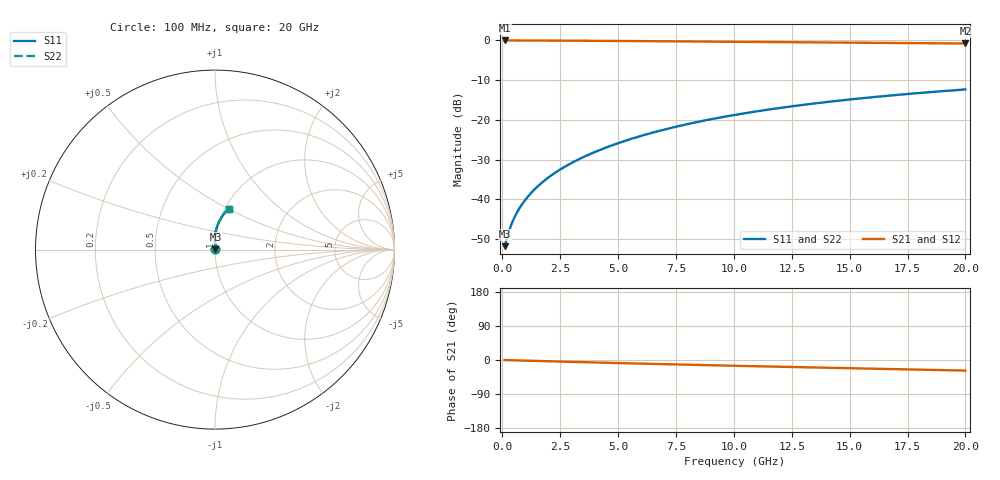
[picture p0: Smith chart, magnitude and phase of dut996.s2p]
! Touchstone file exported from HFSS 2024.1.0
!  File:  C:/UserFiles/LocalFiles/RDL_TSV_Batchsim/temp_RDL_top_996_1779939832.aedt
!  Generated:  11:46:27 AM May 28, 2026
!  Design:  RDL_top
!  Project:  temp_RDL_top_996_1779939832
!  Setup:  Setup1
!  Solution:  Sweep
! Variables:
!  dtsv = 10.80580581um
!  hbump = 3um
!  htsv = 88.23um
!  ldown = 100um
!  lrdl = 391.94um
!  p = 40
!  p1 = 49.39um
!  rhole = 1um
!  t = 450um
!  tdown = 3.915915916um
!  trdl = 2.52um
!  wdown = 15.38538539um
!  wrdl = 27.84um
# GHz S MA R 50.000000
! Terminal data exported
! Port[1] = Box2_T1
! Port[2] = Box2_T2
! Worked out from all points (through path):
!   200 points, 100 MHz to 20 GHz, reference 50 ohm
!   highest |S21| = -0.02 dB at 100 MHz (marker M1); lowest = -0.8 dB at 20 GHz (marker M2)
!   group delay of S21, straight-line fit = 3.83 ps
!   lowest |S11| = -51.8 dB at 100 MHz (marker M3), VSWR 1.01, Z = 50.2 + j0.111 ohm
!   |S11| at or under -10 dB: start of sweep to end of sweep
!   |S22| runs from -51.8 to -12.3 dB; largest |S21 - S12| = 3e-15
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0.1  0.002578 25.3  0.9977 -0.2  0.9977 -0.2  0.002578 25.3
! Gamma 0 0 0 0
! Port Impedance 50 0 50 0
0.3  0.004057 51.2  0.9974 -0.5  0.9974 -0.5  0.004057 51.2
0.4  0.004895 57.3  0.9972 -0.7  0.9972 -0.7  0.004895 57.3
0.5  0.005731 61.5  0.997 -0.9  0.997 -0.9  0.005732 61.5
0.6  0.006564 64.8  0.9969 -1.0  0.9969 -1.0  0.006564 64.8
0.8  0.008233 69.8  0.9966 -1.4  0.9966 -1.4  0.008233 69.8
1  0.009928 73.4  0.9963 -1.7  0.9963 -1.7  0.009928 73.4
1.2  0.01166 76.2  0.9959 -2.0  0.9959 -2.0  0.01166 76.2
1.7  0.01614 81.1  0.995 -2.8  0.995 -2.8  0.01614 81.1
2.2  0.02083 84.3  0.9938 -3.7  0.9938 -3.7  0.02083 84.3
2.8  0.02674 86.7  0.992 -4.6  0.992 -4.6  0.02674 86.7
3.5  0.03401 88.6  0.9896 -5.8  0.9896 -5.8  0.03401 88.6
4.2  0.04167 89.7  0.9869 -6.9  0.9869 -6.9  0.04167 89.7
5  0.05088 90.3  0.9835 -8.1  0.9835 -8.1  0.05087 90.3
5.9  0.06173 90.3  0.9793 -9.4  0.9793 -9.4  0.06172 90.3
6.8  0.073 89.9  0.975 -10.7  0.975 -10.7  0.07299 89.9
8.4  0.09373 88.4  0.9673 -13.0  0.9673 -13.0  0.09371 88.4
10.1  0.1162 86.3  0.959 -15.3  0.959 -15.3  0.1162 86.2
11.7  0.1375 83.9  0.9514 -17.4  0.9514 -17.4  0.1374 83.9
13.4  0.1598 81.3  0.9435 -19.7  0.9435 -19.7  0.1597 81.3
16.7  0.2018 76.3  0.9284 -23.8  0.9284 -23.8  0.2017 76.3
20  0.2414 71.4  0.9135 -27.9  0.9135 -27.9  0.2413 71.4
